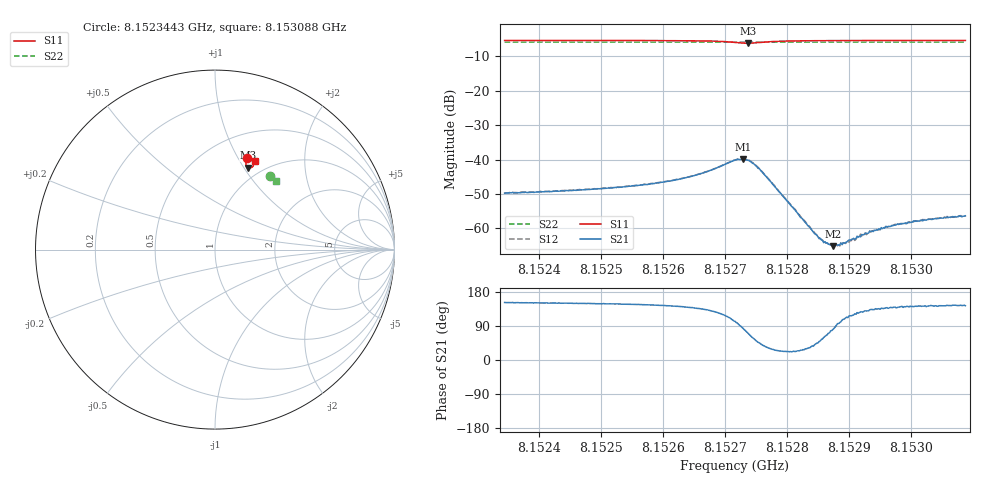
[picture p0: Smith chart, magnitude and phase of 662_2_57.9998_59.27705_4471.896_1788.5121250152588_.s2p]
#  HZ  S  RI  R  50.00
! Rohde & Schwarz Vector Network Analyzer
! Rohde-Schwarz,ZNB20-2Port,1311601062101988,3.16
! Created: UTC 3/21/2024, 1:20:00 AM
! freq[Hz]  re:S11  im:S11  re:S21  im:S21  re:S12  im:S12  re:S22  im:S22
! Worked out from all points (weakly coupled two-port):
!   401 points, 8.1523443 GHz to 8.153088 GHz, reference 50 ohm
!   highest |S21| = -39.85 dB at 8.1527292 GHz (marker M1); lowest = -65.2 dB at 8.1528742 GHz (marker M2)
!   lowest |S11| = -6.1 dB at 8.1527366 GHz (marker M3), VSWR 2.95, Z = 43.3 + j52.4 ohm
!   |S11| at or under -10 dB: nowhere
!   |S22| runs from -5.9 to -5.8 dB; largest |S21 - S12| = 0.00032
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8.15234427e9  0.1805 0.5095  -0.00285 0.00153  -0.00284 0.00161  0.304 0.4114
8.15246885e9  0.1905 0.5058  -0.00311 0.00184  -0.00308 0.00191  0.3104 0.4066
8.15252835e9  0.1958 0.5035  -0.00332 0.00209  -0.00332 0.00216  0.3133 0.4041
8.15259343e9  0.2027 0.4997  -0.00372 0.00266  -0.00373 0.00274  0.3166 0.4014
8.15265294e9  0.2107 0.4923  -0.00432 0.00404  -0.00431 0.00409  0.3197 0.3988
8.15268083e9  0.2149 0.4841  -0.00447 0.00561  -0.00441 0.00571  0.3209 0.3972
8.15271616e9  0.2089 0.4615  -0.00207 0.0096  -0.00193 0.00958  0.322 0.3953
8.15272917e9  0.1947 0.4554  0.00115 0.0101  0.00131 0.0102  0.322 0.3946
8.15273661e9  0.185 0.4573  0.00306 0.0093  0.00318 0.00941  0.322 0.3945
8.15274777e9  0.1744 0.4671  0.0049 0.00688  0.00509 0.00691  0.3223 0.3946
8.15275893e9  0.1719 0.4787  0.00507 0.00441  0.00519 0.00445  0.3229 0.3947
8.15284074e9  0.1945 0.5  0.000733 0.000564  0.000782 0.000551  0.328 0.3918
8.15285748e9  0.1974 0.5  0.000376 0.000551  0.000394 0.000536  0.3288 0.3911
8.15287049e9  0.1995 0.5  0.000128 0.000552  0.000144 0.00056  0.3293 0.3905
8.15287421e9  0.2001 0.4999  8.85e-05 0.00054  8.66e-05 0.000548  0.3296 0.3904
8.15288351e9  0.2013 0.4998  -6.39e-05 0.000561  -5.62e-05 0.000572  0.3301 0.39
8.15289281e9  0.2025 0.4996  -0.000192 0.000578  -0.000217 0.000565  0.3306 0.3897
8.15290396e9  0.2039 0.4993  -0.000307 0.000612  -0.000299 0.000587  0.331 0.389
8.15293743e9  0.2075 0.4983  -0.000622 0.000661  -0.000601 0.000685  0.3326 0.3876
8.15296532e9  0.2102 0.4977  -0.00078 0.000715  -0.000787 0.000717  0.334 0.3865
8.15302111e9  0.2153 0.4962  -0.00104 0.000812  -0.00101 0.000845  0.3368 0.384
8.15308805e9  0.2204 0.4944  -0.00121 0.000908  -0.00122 0.000886  0.3399 0.3811
